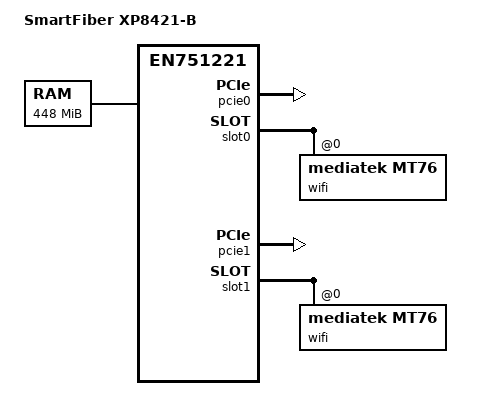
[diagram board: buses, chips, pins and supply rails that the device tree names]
// SPDX-License-Identifier: (GPL-2.0-only OR BSD-2-Clause)
/dts-v1/;

#include "en751221.dtsi"

/ {
	model = "SmartFiber XP8421-B";
	compatible = "smartfiber,xp8421-b", "econet,en751221";

	memory@0 {
		device_type = "memory";
		reg = <0x00000000 0x1c000000>;
	};

	chosen {
		stdout-path = "/serial@1fbf0000:115200";
		linux,usable-memory-range = <0x00020000 0x1bfe0000>;
	};
};

&pcie0 {
	status = "okay";
};
&slot0 {
	wifi@0,0 {
		/* MT7612E */
		compatible = "mediatek,mt76";
		reg = <0x0000 0 0 0 0>;
	};
};
&pcie1 {
	status = "okay";
};
&slot1 {
	wifi@0,0 {
		/* MT7592 */
		compatible = "mediatek,mt76";
		reg = <0x0000 0 0 0 0>;
	};
};
